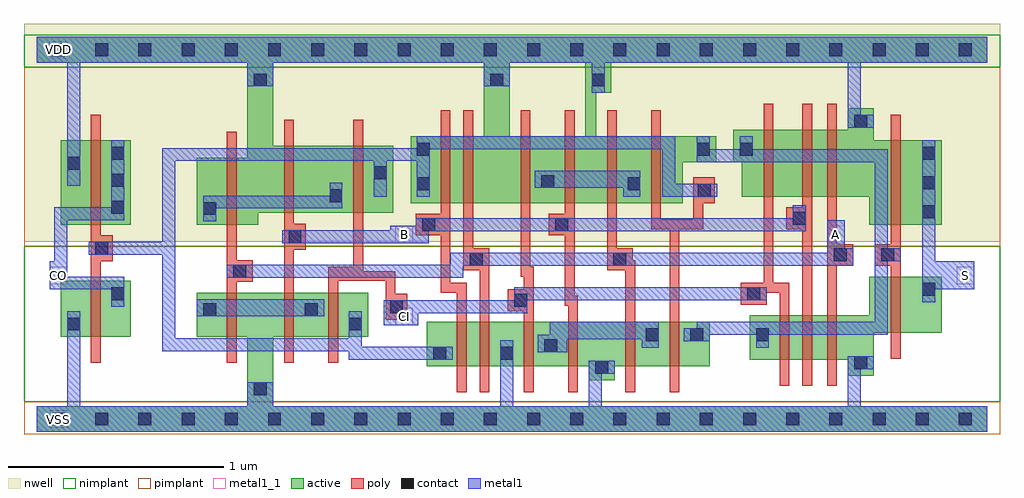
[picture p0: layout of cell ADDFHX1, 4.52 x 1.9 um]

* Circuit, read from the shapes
.subckt ADDFHX1 A B CI CO S VDD VSS
M1 CO n1 VSS VSS nfet w=0.26u l=0.045u
M2 VSS A n2 VSS nfet w=0.205u l=0.045u
M3 n2 B VSS VSS nfet w=0.205u l=0.045u
M4 n1 CI n2 VSS nfet w=0.205u l=0.045u
M5 n3 B n1 VSS nfet w=0.205u l=0.045u
M6 VSS A n3 VSS nfet w=0.205u l=0.045u
M7 n4 CI VSS VSS nfet w=0.205u l=0.045u
M8 VSS B n4 VSS nfet w=0.205u l=0.045u
M9 n4 A VSS VSS nfet w=0.205u l=0.045u
M10 n5 n1 n4 VSS nfet w=0.205u l=0.045u
M11 n6 CI n5 VSS nfet w=0.205u l=0.045u
M12 n7 B n6 VSS nfet w=0.205u l=0.045u
M13 VSS A n7 VSS nfet w=0.205u l=0.045u
M14 S n5 VSS VSS nfet w=0.26u l=0.045u
M15 CO n1 VDD VDD pfet w=0.39u l=0.045u
M16 VDD A n8 VDD pfet w=0.31u l=0.045u
M17 n8 B VDD VDD pfet w=0.31u l=0.045u
M18 n1 CI n8 VDD pfet w=0.31u l=0.045u
M19 n9 B n1 VDD pfet w=0.31u l=0.045u
M20 VDD A n9 VDD pfet w=0.31u l=0.045u
M21 n10 CI VDD VDD pfet w=0.31u l=0.045u
M22 VDD B n10 VDD pfet w=0.31u l=0.045u
M23 n10 A VDD VDD pfet w=0.31u l=0.045u
M24 n5 n1 n10 VDD pfet w=0.31u l=0.045u
M25 n11 CI n5 VDD pfet w=0.31u l=0.045u
M26 n12 B n11 VDD pfet w=0.31u l=0.045u
M27 VDD A n12 VDD pfet w=0.31u l=0.045u
M28 S n5 VDD VDD pfet w=0.39u l=0.045u
.ends

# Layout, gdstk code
import gdstk
lib = gdstk.Library(unit=1e-6, precision=5e-10)
def R(c, l, rs):  # rectangles x0, y0, x1, y1
    for r in rs: c.add(gdstk.rectangle(r[:2], r[2:], *l))
def A(c, l, x, y, w, h, nx, ny, dx, dy):  # array of equal rectangles
    R(c, l, [(x+i*dx, y+j*dy, x+i*dx+w, y+j*dy+h) for i in range(nx) for j in range(ny)])
def P(c, l, *ps):  # polygons
    for p in ps: c.add(gdstk.Polygon(p, *l))
active = (1, 0)
nwell = (2, 0)
poly = (3, 0)
nimplant = (4, 0)
pimplant = (5, 0)
contact = (6, 0)
metal1 = (7, 0)
metal1_1 = (7, 1)

addfhx1 = lib.new_cell('ADDFHX1')
R(addfhx1, active, [(0.11,0.38,0.435,0.64), (0.11,0.9,0.435,1.29)])
P(addfhx1, active, [(0,1.77),(4.4,1.77),(4.4,1.65),(2.66,1.65),(2.66,1.51),(2.59,1.51),(2.59,1.31),(3.145,1.31),(3.145,1.19),(2.99,1.19),(2.99,1),(1.73,1),(1.73,1.31),(2.07,1.31),(2.07,1.65),(2.19,1.65),(2.19,1.31),(2.54,1.31),(2.54,1.65),(1.095,1.65),(1.095,1.265),(1.65,1.265),(1.65,0.955),(1.025,0.955),(1.025,0.9),(0.74,0.9),(0.74,1.21),(0.975,1.21),(0.975,1.65),(0,1.65)],
  [(3.755,1.44),(3.875,1.44),(3.875,1.29),(4.19,1.29),(4.19,0.9),(3.855,0.9),(3.855,1.03),(3.265,1.03),(3.265,1.19),(3.225,1.19),(3.225,1.34),(3.755,1.34)],
  [(0.74,0.585),(1.535,0.585),(1.535,0.38),(1.095,0.38),(1.095,0.06),(4.4,0.06),(4.4,-0.06),(0,-0.06),(0,0.06),(0.975,0.06),(0.975,0.38),(0.74,0.38)],
  [(3.855,0.66),(4.19,0.66),(4.19,0.4),(3.875,0.4),(3.875,0.2),(3.755,0.2),(3.755,0.275),(3.3,0.275),(3.3,0.48),(3.855,0.48)],
  [(1.805,0.45),(3.115,0.45),(3.115,0.245),(2.675,0.245),(2.675,0.18),(2.555,0.18),(2.555,0.245),(1.805,0.245)])
R(addfhx1, nwell, [(-0.06,0.82,4.46,1.83)])
P(addfhx1, poly, [(0.25,1.41),(0.295,1.41),(0.295,0.85),(0.35,0.85),(0.35,0.73),(0.295,0.73),(0.295,0.26),(0.25,0.26)],
  [(0.88,1.33),(0.925,1.33),(0.925,0.735),(1,0.735),(1,0.635),(0.925,0.635),(0.925,0.26),(0.88,0.26)],
  [(1.87,1.43),(1.915,1.43),(1.915,0.63),(1.99,0.63),(1.99,0.125),(1.945,0.125),(1.945,0.585),(1.87,0.585),(1.87,0.85),(1.755,0.85),(1.755,0.95),(1.87,0.95)],
  [(1.975,1.43),(2.02,1.43),(2.02,0.79),(2.095,0.79),(2.095,0.125),(2.05,0.125),(2.05,0.69),(1.975,0.69)],
  [(2.24,1.43),(2.285,1.43),(2.285,0.705),(2.3,0.705),(2.3,0.125),(2.255,0.125),(2.255,0.5),(2.18,0.5),(2.18,0.6),(2.255,0.6),(2.255,0.66),(2.24,0.66)],
  [(2.445,1.43),(2.49,1.43),(2.49,0.57),(2.505,0.57),(2.505,0.125),(2.46,0.125),(2.46,0.525),(2.445,0.525),(2.445,0.85),(2.37,0.85),(2.37,0.95),(2.445,0.95)],
  [(1.145,1.385),(1.19,1.385),(1.19,0.905),(1.245,0.905),(1.245,0.785),(1.19,0.785),(1.19,0.26),(1.145,0.26)],
  [(1.465,1.385),(1.51,1.385),(1.51,0.685),(1.66,0.685),(1.66,0.58),(1.715,0.58),(1.715,0.46),(1.615,0.46),(1.615,0.64),(1.395,0.64),(1.395,0.26),(1.35,0.26),(1.35,0.705),(1.465,0.705)],
  [(2.845,1.43),(2.89,1.43),(2.89,0.925),(3.04,0.925),(3.04,1.12),(3.14,1.12),(3.14,1),(3.085,1),(3.085,0.88),(2.975,0.88),(2.975,0.125),(2.93,0.125),(2.93,0.88),(2.845,0.88)],
  [(3.365,1.46),(3.41,1.46),(3.41,0.63),(3.485,0.63),(3.485,0.155),(3.44,0.155),(3.44,0.585),(3.38,0.585),(3.38,0.53),(3.26,0.53),(3.26,0.63),(3.365,0.63)],
  [(3.545,1.46),(3.59,1.46),(3.59,0.155),(3.545,0.155),(3.545,0.88),(3.47,0.88),(3.47,0.98),(3.545,0.98)],
  [(3.66,1.46),(3.705,1.46),(3.705,0.81),(3.78,0.81),(3.78,0.71),(3.705,0.71),(3.705,0.155),(3.66,0.155)],
  [(2.64,1.43),(2.685,1.43),(2.685,0.79),(2.76,0.79),(2.76,0.735),(2.77,0.735),(2.77,0.125),(2.725,0.125),(2.725,0.69),(2.64,0.69)],
  [(3.955,1.41),(4,1.41),(4,0.28),(3.955,0.28),(3.955,0.71),(3.88,0.71),(3.88,0.81),(3.955,0.81)])
R(addfhx1, nimplant, [(-0.06,0.08,4.46,0.8), (-0.06,1.63,4.46,1.78)])
R(addfhx1, pimplant, [(-0.06,-0.07,4.46,0.08), (-0.06,0.8,4.46,1.63)])
A(addfhx1, contact, 0.07, -0.03, 0.06, 0.06, 22, 2, 0.2, 1.71)
A(addfhx1, contact, 4.1, 0.93, 0.06, 0.06, 1, 3, 0, 0.135)
A(addfhx1, contact, 0.345, 0.95, 0.06, 0.06, 1, 3, 0, 0.125)
R(addfhx1, contact, [(1.005,0.11,1.065,0.17), (2.585,0.21,2.645,0.27), (3.785,0.23,3.845,0.29), (1.835,0.275,1.895,0.335), (2.145,0.275,2.205,0.335), (2.35,0.31,2.41,0.37), (2.82,0.36,2.88,0.42), (3.025,0.36,3.085,0.42), (3.33,0.36,3.39,0.42), (0.14,0.41,0.2,0.47), (1.445,0.41,1.505,0.47), (0.77,0.475,0.83,0.535), (1.24,0.475,1.3,0.535), (1.635,0.49,1.695,0.55), (2.21,0.52,2.27,0.58), (0.345,0.55,0.405,0.61), (3.29,0.55,3.35,0.61), (4.1,0.57,4.16,0.63), (0.91,0.655,0.97,0.715), (2.005,0.71,2.065,0.77), (2.67,0.71,2.73,0.77), (3.69,0.73,3.75,0.79), (3.91,0.73,3.97,0.79), (0.27,0.76,0.33,0.82), (1.165,0.815,1.225,0.875), (1.785,0.87,1.845,0.93), (2.4,0.87,2.46,0.93), (3.5,0.9,3.56,0.96), (0.77,0.945,0.83,1.005), (1.355,1.005,1.415,1.065), (3.06,1.03,3.12,1.09), (1.76,1.06,1.82,1.12), (2.735,1.06,2.795,1.12), (2.335,1.07,2.395,1.13), (1.56,1.11,1.62,1.17), (0.14,1.155,0.2,1.215), (1.76,1.22,1.82,1.28), (3.055,1.22,3.115,1.28), (3.255,1.22,3.315,1.28), (3.785,1.35,3.845,1.41), (1.005,1.54,1.065,1.6), (2.1,1.54,2.16,1.6), (2.57,1.54,2.63,1.6)])
R(addfhx1, metal1, [(0.74,0.475,1.33,0.555)])
P(addfhx1, metal1, [(0,1.77),(4.4,1.77),(4.4,1.65),(3.815,1.65),(3.815,1.41),(3.875,1.41),(3.875,1.35),(3.755,1.35),(3.755,1.65),(2.63,1.65),(2.63,1.51),(2.57,1.51),(2.57,1.65),(2.19,1.65),(2.19,1.54),(2.07,1.54),(2.07,1.65),(1.095,1.65),(1.095,1.54),(0.975,1.54),(0.975,1.65),(0.2,1.65),(0.2,1.08),(0.14,1.08),(0.14,1.65),(0,1.65)],
  [(0.345,1.29),(0.405,1.29),(0.405,0.92),(0.14,0.92),(0.14,0.66),(0.405,0.66),(0.405,0.52),(0.345,0.52),(0.345,0.6),(0.06,0.6),(0.06,0.73),(0.08,0.73),(0.08,0.98),(0.345,0.98)],
  [(1.76,1.31),(2.955,1.31),(2.955,1.09),(3.15,1.09),(3.15,1.03),(2.895,1.03),(2.895,1.25),(1.82,1.25),(1.82,1.03),(1.76,1.03),(1.76,1.195),(1.62,1.195),(1.62,1.03),(1.56,1.03),(1.56,1.195),(0.64,1.195),(0.64,0.375),(1.445,0.375),(1.445,0.5),(1.505,0.5),(1.505,0.335),(1.925,0.335),(1.925,0.275),(1.445,0.275),(1.445,0.315),(0.58,0.315),(0.58,0.76),(0.24,0.76),(0.24,0.82),(0.58,0.82),(0.58,1.255),(1.76,1.255)],
  [(1.355,1.095),(1.415,1.095),(1.415,0.975),(0.83,0.975),(0.83,0.915),(0.77,0.915),(0.77,1.035),(1.355,1.035)],
  [(2.305,1.15),(2.795,1.15),(2.795,1.03),(2.715,1.03),(2.715,1.07),(2.305,1.07)],
  [(3.055,1.31),(3.115,1.31),(3.115,1.25),(3.255,1.25),(3.255,1.31),(3.315,1.31),(3.315,1.25),(3.94,1.25),(3.94,0.79),(4,0.79),(4,0.73),(3.94,0.73),(3.94,0.39),(3.39,0.39),(3.39,0.33),(3.33,0.33),(3.33,0.39),(3.115,0.39),(3.115,0.36),(2.995,0.36),(2.995,0.42),(3.055,0.42),(3.055,0.45),(3.88,0.45),(3.88,1.19),(3.055,1.19)],
  [(4.1,1.29),(4.16,1.29),(4.16,0.73),(4.34,0.73),(4.34,0.6),(4.16,0.6),(4.16,0.54),(4.1,0.54)],
  [(3.5,0.99),(3.56,0.99),(3.56,0.87),(1.815,0.87),(1.815,0.815),(1.135,0.815),(1.135,0.875),(1.635,0.875),(1.635,0.895),(1.755,0.895),(1.755,0.93),(3.5,0.93)],
  [(3.66,0.92),(3.74,0.92),(3.74,0.79),(3.78,0.79),(3.78,0.71),(1.975,0.71),(1.975,0.655),(0.88,0.655),(0.88,0.715),(1.915,0.715),(1.915,0.77),(3.66,0.77)],
  [(0.14,0.5),(0.2,0.5),(0.2,0.06),(0.975,0.06),(0.975,0.17),(1.095,0.17),(1.095,0.06),(2.145,0.06),(2.145,0.365),(2.205,0.365),(2.205,0.06),(2.555,0.06),(2.555,0.27),(2.675,0.27),(2.675,0.21),(2.615,0.21),(2.615,0.06),(3.755,0.06),(3.755,0.29),(3.875,0.29),(3.875,0.23),(3.815,0.23),(3.815,0.06),(4.4,0.06),(4.4,-0.06),(0,-0.06),(0,0.06),(0.14,0.06)],
  [(2.21,0.61),(3.38,0.61),(3.38,0.55),(2.27,0.55),(2.27,0.49),(1.765,0.49),(1.765,0.435),(1.605,0.435),(1.605,0.55),(2.21,0.55)],
  [(2.375,0.45),(2.88,0.45),(2.88,0.33),(2.8,0.33),(2.8,0.37),(2.455,0.37),(2.455,0.31),(2.32,0.31),(2.32,0.39),(2.375,0.39)])
R(addfhx1, metal1_1, [(0.06,-0.04,0.14,0.04), (1.66,0.435,1.74,0.515), (0.06,0.625,0.14,0.705), (4.26,0.625,4.34,0.705), (1.66,0.815,1.74,0.895), (3.66,0.815,3.74,0.895), (0.06,1.67,0.14,1.75)])
addfhx1.add(gdstk.Label('VSS', (0.1,0), layer=7, texttype=1))
addfhx1.add(gdstk.Label('VDD', (0.1,1.71), layer=7, texttype=1))
addfhx1.add(gdstk.Label('CI', (1.7,0.475), layer=7, texttype=1))
addfhx1.add(gdstk.Label('A', (3.7,0.855), layer=7, texttype=1))
addfhx1.add(gdstk.Label('B', (1.7,0.855), layer=7, texttype=1))
addfhx1.add(gdstk.Label('CO', (0.1,0.665), layer=7, texttype=1))
addfhx1.add(gdstk.Label('S', (4.3,0.665), layer=7, texttype=1))
addfhx1.add(gdstk.Label('ADDFHX1', (0,0), layer=63, texttype=0))

lib.write_gds('ADDFHX1.gds')
